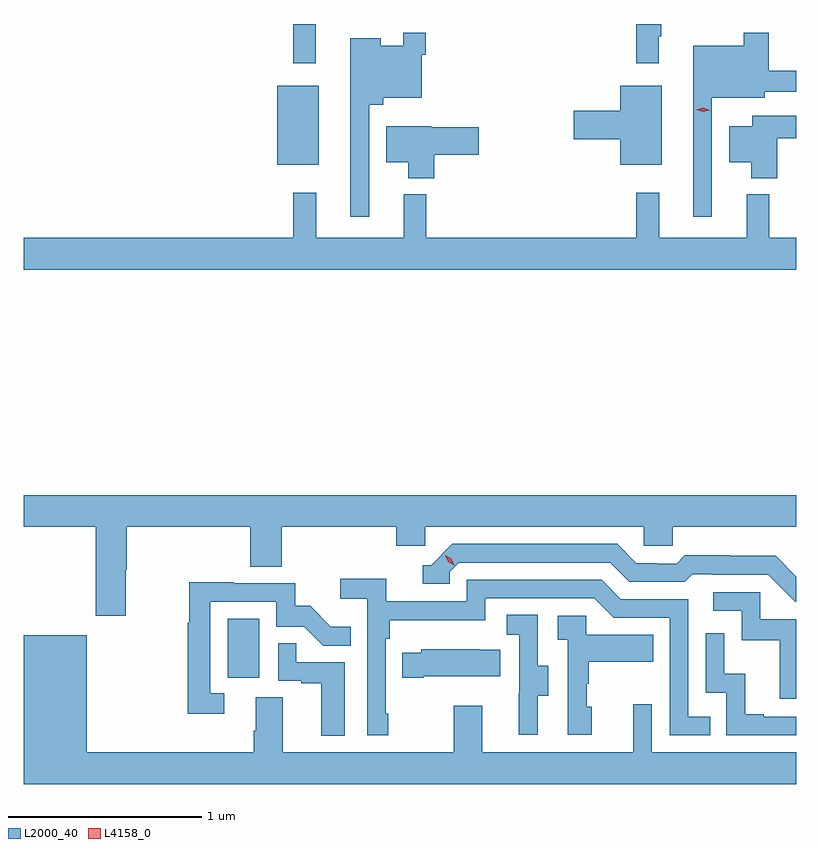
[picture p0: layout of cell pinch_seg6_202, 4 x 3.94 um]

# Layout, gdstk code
import gdstk
lib = gdstk.Library(unit=1e-6, precision=1e-09)
def R(c, l, rs):  # rectangles x0, y0, x1, y1
    for r in rs: c.add(gdstk.rectangle(r[:2], r[2:], *l))
def P(c, l, *ps):  # polygons
    for p in ps: c.add(gdstk.Polygon(p, *l))
L2000_40 = (2000, 40)
L4158_0 = (4158, 0)

pinch_seg6_202 = lib.new_cell('pinch_seg6_202')
R(pinch_seg6_202, L2000_40, [(1065.752,918.582,1065.916,918.889), (1066.01,921.239,1066.225,921.649), (1066.093,921.765,1066.21,921.968)])
P(pinch_seg6_202, L2000_40, [(1067.986,921.905),(1067.998,921.905),(1067.998,921.968),(1067.869,921.968),(1067.869,921.765),(1067.986,921.765)],
  [(1068.261,921.587),(1068.535,921.587),(1068.535,921.618),(1068.697,921.618),(1068.697,921.727),(1068.554,921.727),(1068.554,921.922),(1068.426,921.922),(1068.426,921.856),(1068.164,921.856),(1068.164,920.97),(1068.261,920.97)],
  [(1066.485,921.551),(1066.559,921.551),(1066.559,921.587),(1066.758,921.587),(1066.758,921.809),(1066.778,921.809),(1066.778,921.922),(1066.662,921.922),(1066.662,921.856),(1066.546,921.856),(1066.546,921.895),(1066.388,921.895),(1066.388,920.97),(1066.485,920.97)],
  [(1068.001,921.649),(1067.786,921.649),(1067.786,921.518),(1067.544,921.518),(1067.544,921.371),(1067.786,921.371),(1067.786,921.239),(1068.001,921.239)],
  [(1068.599,921.376),(1068.697,921.376),(1068.697,921.492),(1068.47,921.492),(1068.47,921.439),(1068.35,921.439),(1068.35,921.251),(1068.464,921.251),(1068.464,921.17),(1068.599,921.17)],
  [(1066.823,921.292),(1067.053,921.292),(1067.053,921.434),(1066.806,921.434),(1066.806,921.439),(1066.574,921.439),(1066.574,921.251),(1066.688,921.251),(1066.688,921.17),(1066.823,921.17)],
  [(1068.697,920.86),(1068.557,920.86),(1068.557,921.085),(1068.44,921.085),(1068.44,920.86),(1067.987,920.86),(1067.987,921.094),(1067.869,921.094),(1067.869,920.86),(1066.781,920.86),(1066.781,921.085),(1066.664,921.085),(1066.664,920.86),(1066.211,920.86),(1066.211,921.094),(1066.093,921.094),(1066.093,920.86),(1064.697,920.86),(1064.697,920.696),(1068.697,920.696)],
  [(1065.225,919.142),(1065.23,919.142),(1065.23,919.364),(1065.869,919.364),(1065.869,919.156),(1066.034,919.156),(1066.034,919.364),(1066.625,919.364),(1066.625,919.266),(1066.776,919.266),(1066.776,919.364),(1067.907,919.364),(1067.907,919.266),(1068.057,919.266),(1068.057,919.364),(1068.697,919.364),(1068.697,919.528),(1064.697,919.528),(1064.697,919.364),(1065.07,919.364),(1065.07,918.903),(1065.225,918.903)],
  [(1068.697,919.106),(1068.59,919.213),(1068.354,919.213),(1068.354,919.216),(1068.121,919.216),(1068.079,919.173),(1067.976,919.173),(1067.976,919.176),(1067.869,919.176),(1067.77,919.275),(1066.917,919.275),(1066.806,919.164),(1066.763,919.164),(1066.763,919.068),(1066.902,919.068),(1066.902,919.131),(1066.95,919.179),(1067.733,919.179),(1067.832,919.08),(1068.121,919.08),(1068.16,919.119),(1068.259,919.119),(1068.259,919.116),(1068.552,919.116),(1068.693,918.975),(1068.697,918.975)],
  [(1066.585,918.397),(1066.572,918.397),(1066.572,918.785),(1066.592,918.785),(1066.592,918.881),(1067.088,918.881),(1067.088,918.993),(1067.652,918.993),(1067.751,918.894),(1068.042,918.894),(1068.042,918.285),(1068.251,918.285),(1068.251,918.381),(1068.138,918.381),(1068.138,918.99),(1067.788,918.99),(1067.689,919.089),(1066.992,919.089),(1066.992,918.978),(1066.574,918.978),(1066.574,919.094),(1066.335,919.094),(1066.335,918.992),(1066.476,918.992),(1066.476,918.285),(1066.585,918.285)],
  [(1065.736,918.501),(1065.663,918.501),(1065.663,918.975),(1066.005,918.975),(1066.005,918.846),(1066.15,918.846),(1066.248,918.748),(1066.391,918.748),(1066.391,918.847),(1066.287,918.847),(1066.18,918.954),(1066.104,918.954),(1066.104,919.071),(1065.785,919.071),(1065.785,919.076),(1065.555,919.076),(1065.555,918.868),(1065.547,918.868),(1065.547,918.396),(1065.736,918.396)],
  [(1068.697,918.885),(1068.51,918.885),(1068.51,919.026),(1068.267,919.026),(1068.267,918.93),(1068.414,918.93),(1068.414,918.777),(1068.613,918.777),(1068.613,918.474),(1068.697,918.474)],
  [(1067.359,918.49),(1067.413,918.49),(1067.413,918.645),(1067.358,918.645),(1067.358,918.908),(1067.199,918.908),(1067.199,918.805),(1067.262,918.805),(1067.262,918.501),(1067.261,918.501),(1067.261,918.288),(1067.359,918.288)],
  [(1067.638,918.432),(1067.613,918.432),(1067.613,918.551),(1067.623,918.551),(1067.623,918.665),(1067.957,918.665),(1067.957,918.805),(1067.61,918.805),(1067.61,918.903),(1067.463,918.903),(1067.463,918.779),(1067.514,918.779),(1067.514,918.288),(1067.638,918.288)],
  [(1068.697,918.381),(1068.529,918.381),(1068.529,918.394),(1068.434,918.394),(1068.434,918.602),(1068.324,918.602),(1068.324,918.814),(1068.228,918.814),(1068.228,918.504),(1068.336,918.504),(1068.336,918.285),(1068.697,918.285)],
  [(1068.697,918.196),(1067.949,918.196),(1067.949,918.445),(1067.852,918.445),(1067.852,918.196),(1067.071,918.196),(1067.071,918.436),(1066.924,918.436),(1066.924,918.196),(1066.039,918.196),(1066.039,918.482),(1065.899,918.482),(1065.899,918.308),(1065.887,918.308),(1065.887,918.196),(1065.022,918.196),(1065.022,918.802),(1064.697,918.802),(1064.697,918.032),(1068.697,918.032)],
  [(1066.36,918.663),(1066.109,918.663),(1066.109,918.761),(1066.014,918.761),(1066.014,918.567),(1066.135,918.567),(1066.135,918.555),(1066.238,918.555),(1066.238,918.281),(1066.36,918.281)],
  [(1066.768,918.59),(1067.165,918.59),(1067.165,918.727),(1067.057,918.727),(1067.057,918.73),(1066.755,918.73),(1066.755,918.712),(1066.657,918.712),(1066.657,918.583),(1066.768,918.583)])
P(pinch_seg6_202, L4158_0, [(1068.214,921.513),(1068.18,921.524),(1068.179,921.524),(1068.18,921.525),(1068.216,921.533),(1068.25,921.521),(1068.251,921.521),(1068.25,921.521)],
  [(1066.926,919.165),(1066.895,919.184),(1066.879,919.217),(1066.879,919.217),(1066.879,919.217),(1066.91,919.198),(1066.926,919.165),(1066.926,919.165)])

lib.write_gds('pinch_seg6_202.gds')
